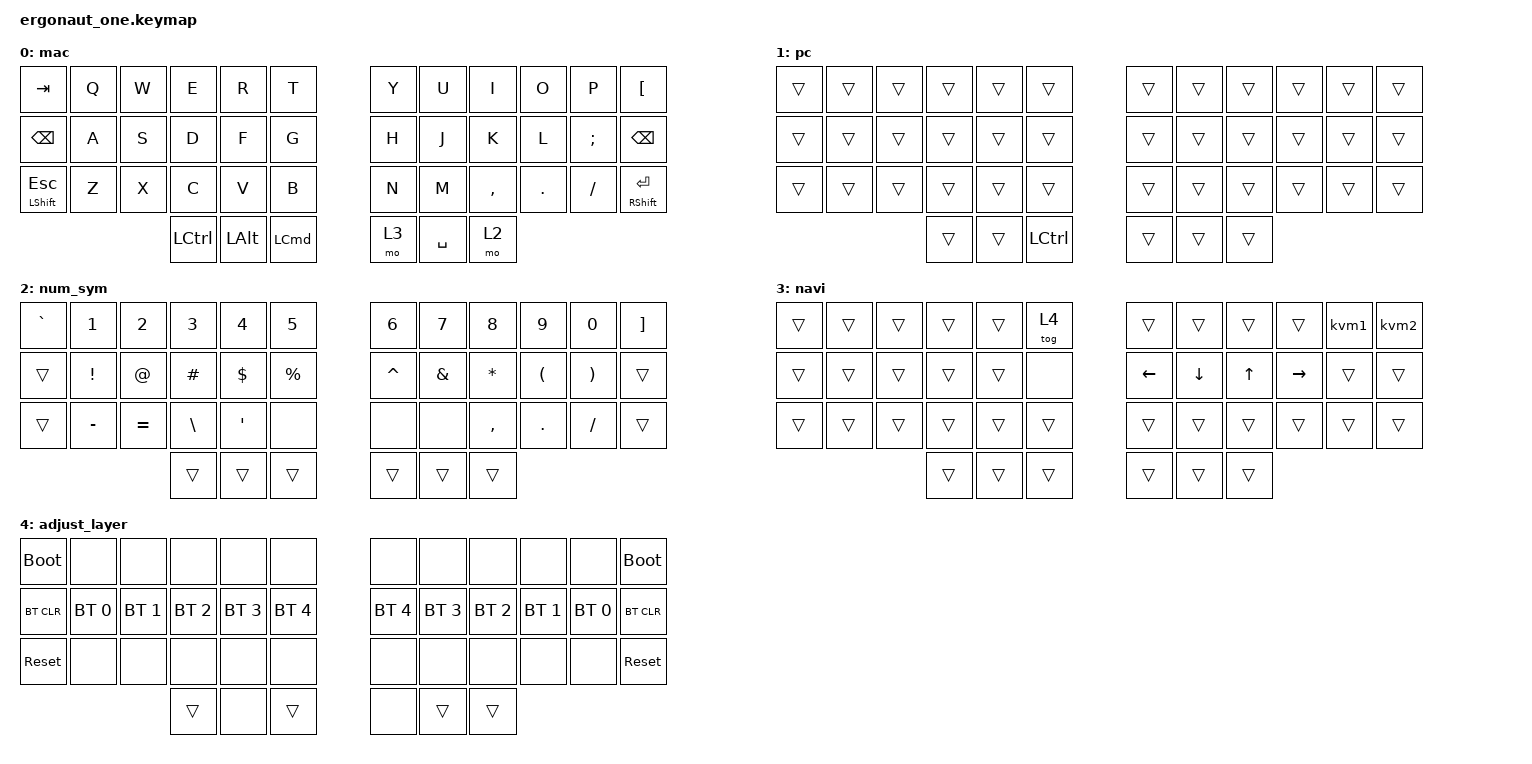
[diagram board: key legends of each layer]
#include <behaviors.dtsi>
#include <dt-bindings/zmk/bt.h>
#include <dt-bindings/zmk/keys.h>

#define DEF 0
#define LWR 1
#define RSE 2
#define ADJ 3

&lt { quick-tap-ms = <200>; };

&mt { quick-tap-ms = <200>; };

/ {
    conditional_layers { compatible = "zmk,conditional-layers"; };

    macros {
        kvm1: kvm1 {
            compatible = "zmk,behavior-macro";
            #binding-cells = <0>;
            bindings = <&kp LCTRL &kp LCTRL &kp NUMBER_1>;
            label = "KVM1";
        };

        kvm2: kvm2 {
            compatible = "zmk,behavior-macro";
            #binding-cells = <0>;
            bindings = <&kp LCTRL &kp LCTRL &kp NUMBER_2>;
            label = "KVM2";
        };
    };

    keymap {
        compatible = "zmk,keymap";

        mac {
            bindings = <
&kp TAB                &kp Q  &kp W  &kp E      &kp R         &kp T     &kp Y  &kp U      &kp I      &kp O    &kp P     &kp LBKT
&kp BACKSPACE          &kp A  &kp S  &kp D      &kp F         &kp G     &kp H  &kp J      &kp K      &kp L    &kp SEMI  &kp BACKSPACE
&mt LEFT_SHIFT ESCAPE  &kp Z  &kp X  &kp C      &kp V         &kp B     &kp N  &kp M      &kp COMMA  &kp DOT  &kp FSLH  &mt RIGHT_SHIFT ENTER
                                     &kp LCTRL  &kp LEFT_ALT  &kp LCMD  &mo 3  &kp SPACE  &mo 2
            >;
        };

        pc {
            bindings = <
&trans  &trans  &trans  &trans  &trans  &trans     &trans  &trans  &trans  &trans  &trans  &trans
&trans  &trans  &trans  &trans  &trans  &trans     &trans  &trans  &trans  &trans  &trans  &trans
&trans  &trans  &trans  &trans  &trans  &trans     &trans  &trans  &trans  &trans  &trans  &trans
                        &trans  &trans  &kp LCTRL  &trans  &trans  &trans
            >;
        };

        num_sym {
            bindings = <
&kp GRAVE  &kp N1     &kp N2     &kp N3    &kp N4    &kp N5     &kp N6     &kp N7    &kp N8     &kp N9    &kp N0    &kp RBKT
&trans     &kp EXCL   &kp AT     &kp HASH  &kp DLLR  &kp PRCNT  &kp CARET  &kp AMPS  &kp STAR   &kp LPAR  &kp RPAR  &trans
&trans     &kp MINUS  &kp EQUAL  &kp BSLH  &kp SQT   &none      &none      &none     &kp COMMA  &kp DOT   &kp FSLH  &trans
                                 &trans    &trans    &trans     &trans     &trans    &trans
            >;
        };

        navi {
            bindings = <
&trans  &trans  &trans  &trans  &trans  &tog 4  &trans          &trans          &trans        &trans     &kvm1   &kvm2
&trans  &trans  &trans  &trans  &trans  &none   &kp LEFT_ARROW  &kp DOWN_ARROW  &kp UP_ARROW  &kp RIGHT  &trans  &trans
&trans  &trans  &trans  &trans  &trans  &trans  &trans          &trans          &trans        &trans     &trans  &trans
                        &trans  &trans  &trans  &trans          &trans          &trans
            >;
        };

        adjust_layer {
            bindings = <
&bootloader  &none         &none         &none         &none         &none         &none         &none         &none         &none         &none         &bootloader
&bt BT_CLR   &bt BT_SEL 0  &bt BT_SEL 1  &bt BT_SEL 2  &bt BT_SEL 3  &bt BT_SEL 4  &bt BT_SEL 4  &bt BT_SEL 3  &bt BT_SEL 2  &bt BT_SEL 1  &bt BT_SEL 0  &bt BT_CLR
&sys_reset   &none         &none         &none         &none         &none         &none         &none         &none         &none         &none         &sys_reset
                                         &trans        &none         &trans        &none         &trans        &trans
            >;
        };
    };
};
